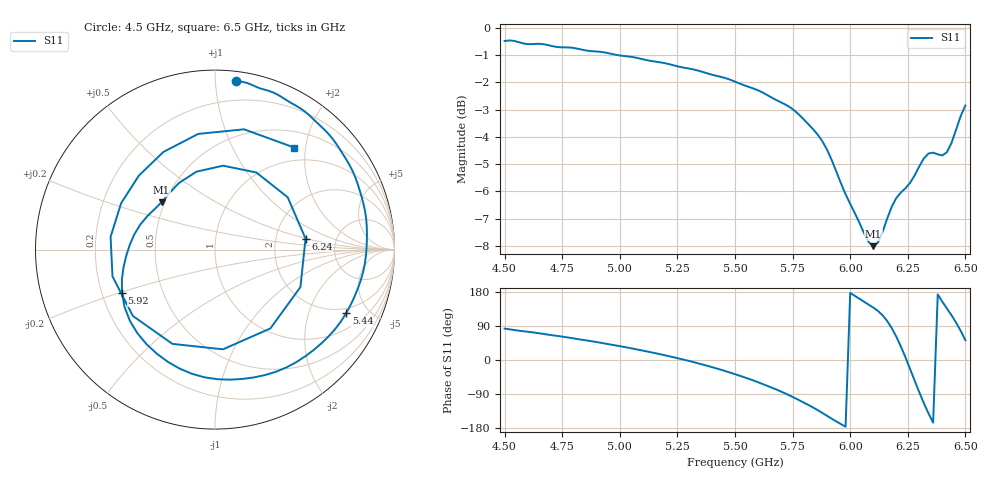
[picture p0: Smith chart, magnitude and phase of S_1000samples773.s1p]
! TOUCHSTONE file generated by CST MICROWAVE STUDIO
! Date and time: Sat Oct 29 08:11:33 2022
! Project name: L.cst
! Parameters = {Di=1.27; Epsilon_r=1.56; InnerDiameter=1.27; Length=2; Lf=10; Lg=60; OuterConductorThickness=0.2921; OuterDiameter=3.6; Wf=3; Wp=41.2; de=1.5; df=6.8; g=0.8; gx=2.84449; gy=2.39364; h=2.34; hf=1.524; px=9.7073; py=13.3646; w=9.7; wx=6.86281; wy=10.971}
! Header version: 2018
! Port assignment regex: !\s*Touchstone port\s*([0-9]+)\s*=\s*(CST MWS port|CST DS port)\s*([0-9]+|Zmin|Zmax)\s*\(\"(.*)\"\)(\s*mode\s*([0-9]+))?.*
! Touchstone port assignment:
! Touchstone port 1 = CST MWS port 1 ("")
# GHz S DB R 50
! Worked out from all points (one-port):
!   101 points, 4.5 GHz to 6.5 GHz, reference 50 ohm
!   lowest |S11| = -8.0 dB at 6.1 GHz (marker M1), VSWR 2.32, Z = 24 + j15 ohm
!   |S11| at or under -10 dB: nowhere
!   S11 on the Smith chart (normalised r, x): 4.5 GHz: 0.06, +1.13; 5.44 GHz: 1.72, -3.58; 5.92 GHz: 0.28, -0.20; 6.24 GHz: 2.97, +0.49; 6.5 GHz: 0.76, +1.79
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4.5  -0.49 82.8
4.76  -0.72 60.8
5  -1.02 36.5
5.26  -1.44 3.5
5.44  -1.81 -25.9
5.5  -1.98 -37.5
5.64  -2.47 -68.2
5.76  -3.05 -100.5
5.84  -3.73 -125.8
5.92  -4.85 -155.0
6  -6.45 176.8
6.1  -8.00 138.5
6.14  -7.49 118.4
6.18  -6.56 84.5
6.2  -6.24 61.8
6.22  -6.04 35.7
6.24  -5.88 6.9
6.26  -5.68 -23.7
6.28  -5.40 -54.9
6.3  -5.08 -85.4
6.32  -4.79 -114.3
6.34  -4.61 -141.1
6.36  -4.58 -165.3
6.38  -4.64 173.0
6.42  -4.56 135.8
6.46  -3.73 98.3
6.48  -3.23 76.4
6.5  -2.85 52.1
